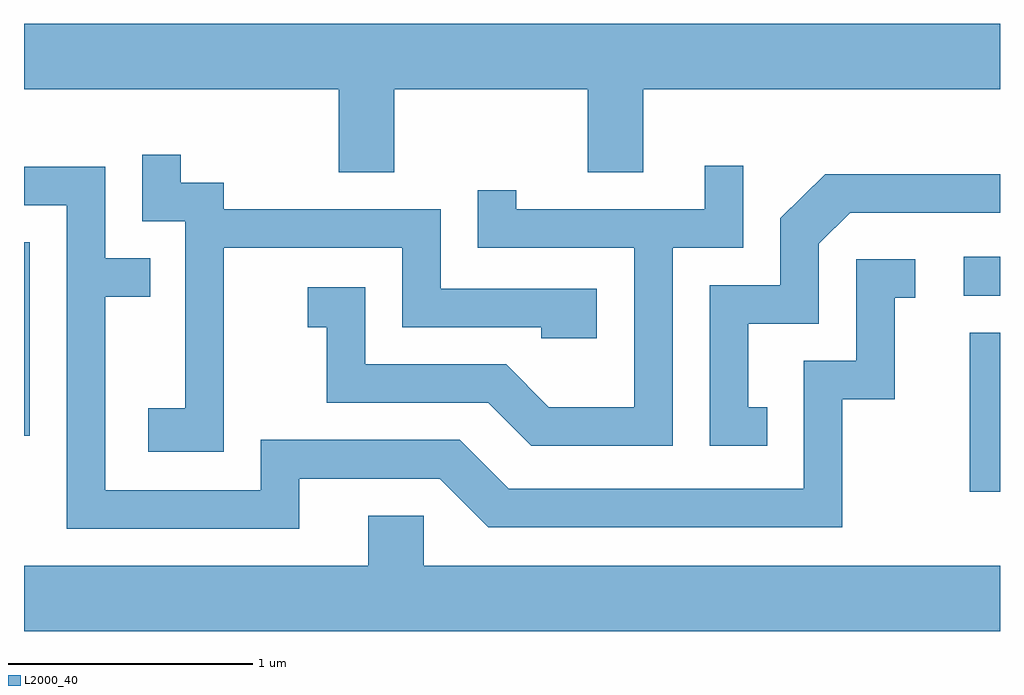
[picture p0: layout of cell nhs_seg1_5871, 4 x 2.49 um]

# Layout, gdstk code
import gdstk
lib = gdstk.Library(unit=1e-6, precision=1e-09)
def R(c, l, rs):  # rectangles x0, y0, x1, y1
    for r in rs: c.add(gdstk.rectangle(r[:2], r[2:], *l))
def P(c, l, *ps):  # polygons
    for p in ps: c.add(gdstk.Polygon(p, *l))
L2000_40 = (2000, 40)

nhs_seg1_5871 = lib.new_cell('nhs_seg1_5871')
R(nhs_seg1_5871, L2000_40, [(365.486,935.666,365.611,936.319), (361.611,935.896,361.634,936.689), (365.463,936.471,365.611,936.629)])
P(nhs_seg1_5871, L2000_40, [(363.129,937.316),(363.921,937.316),(363.921,936.976),(364.149,936.976),(364.149,937.316),(365.611,937.316),(365.611,937.584),(361.611,937.584),(361.611,937.316),(362.901,937.316),(362.901,936.976),(363.129,936.976)],
  [(362.429,936.666),(363.161,936.666),(363.161,936.341),(363.731,936.341),(363.731,936.296),(363.959,936.296),(363.959,936.499),(363.319,936.499),(363.319,936.824),(362.429,936.824),(362.429,936.934),(362.254,936.934),(362.254,937.048),(362.096,937.048),(362.096,936.776),(362.271,936.776),(362.271,936.009),(362.121,936.009),(362.121,935.831),(362.429,935.831)],
  [(364.269,936.666),(364.559,936.666),(364.559,937.003),(364.401,937.003),(364.401,936.824),(363.629,936.824),(363.629,936.903),(363.471,936.903),(363.471,936.666),(364.111,936.666),(364.111,936.014),(363.762,936.014),(363.587,936.189),(363.009,936.189),(363.009,936.504),(362.773,936.504),(362.773,936.341),(362.851,936.341),(362.851,936.031),(363.514,936.031),(363.689,935.856),(364.269,935.856)],
  [(362.739,935.721),(363.314,935.721),(363.514,935.521),(364.964,935.521),(364.964,936.046),(365.179,936.046),(365.179,936.461),(365.263,936.461),(365.263,936.619),(365.021,936.619),(365.021,936.204),(364.806,936.204),(364.806,935.679),(363.597,935.679),(363.397,935.879),(362.581,935.879),(362.581,935.674),(361.944,935.674),(361.944,936.466),(362.128,936.466),(362.128,936.624),(361.944,936.624),(361.944,936.999),(361.611,936.999),(361.611,936.841),(361.786,936.841),(361.786,935.516),(362.739,935.516)],
  [(364.658,936.014),(364.579,936.014),(364.579,936.356),(364.869,936.356),(364.869,936.684),(364.997,936.811),(365.611,936.811),(365.611,936.969),(364.894,936.969),(364.711,936.787),(364.711,936.514),(364.421,936.514),(364.421,935.856),(364.658,935.856)],
  [(365.611,935.364),(363.249,935.364),(363.249,935.569),(363.021,935.569),(363.021,935.364),(361.611,935.364),(361.611,935.096),(365.611,935.096)])

lib.write_gds('nhs_seg1_5871.gds')
